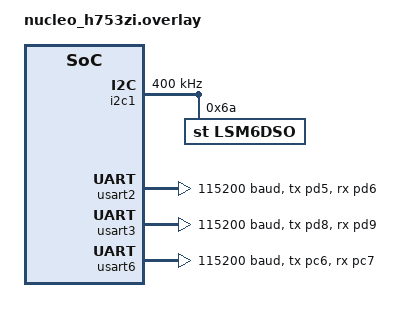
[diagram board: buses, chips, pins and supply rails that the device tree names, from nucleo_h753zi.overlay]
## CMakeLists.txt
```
# SPDX-License-Identifier: Apache-2.0

cmake_minimum_required(VERSION 3.20.0)

# Set the Zephyr base directory
find_package(Zephyr REQUIRED HINTS $ENV{ZEPHYR_BASE})

# Project name
project(segment_controller)

# Add source files
target_sources(app PRIVATE
    src/main.c
    src/network.c
    src/packet.c
    src/imu.c
    src/tmc9660.c
)

# Add include directories
target_include_directories(app PRIVATE
    include
    src
)
```

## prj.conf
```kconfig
# SPDX-License-Identifier: Apache-2.0

# Enable console and UART for debugging
CONFIG_CONSOLE=y
CONFIG_UART_CONSOLE=y
CONFIG_SERIAL=y

# Enable printk for basic logging
CONFIG_PRINTK=y

# Enable GPIO (for LED if needed)
CONFIG_GPIO=y

# Increase main stack size for future expansion
CONFIG_MAIN_STACK_SIZE=2048

# Phase 2: Networking
CONFIG_NETWORKING=y
CONFIG_NET_IPV4=y
CONFIG_NET_TCP=y
CONFIG_NET_UDP=y

# DHCP Client
CONFIG_NET_DHCPV4=y

# Ethernet
CONFIG_NET_L2_ETHERNET=y

# Network buffers
CONFIG_NET_BUF_RX_COUNT=16
CONFIG_NET_BUF_TX_COUNT=16
CONFIG_NET_PKT_RX_COUNT=16
CONFIG_NET_PKT_TX_COUNT=16

# Network shell (for debugging)
CONFIG_NET_SHELL=y
CONFIG_SHELL=y

# Increase network-related stack sizes
CONFIG_NET_TX_STACK_SIZE=2048
CONFIG_NET_RX_STACK_SIZE=2048

# Network logging (can be disabled after testing)
CONFIG_NET_LOG=y
CONFIG_NET_DHCPV4_LOG_LEVEL_DBG=y

# Phase 3: Sockets
CONFIG_NET_SOCKETS=y
CONFIG_POSIX_API=y

# Increase socket buffer sizes for packet handling
CONFIG_NET_TCP_MAX_SEND_WINDOW_SIZE=4096
CONFIG_NET_TCP_MAX_RECV_WINDOW_SIZE=4096

# Phase 4: I2C and IMU
CONFIG_I2C=y
CONFIG_SENSOR=y
CONFIG_LSM6DSO=y

# Enable floating point for sensor fusion
CONFIG_FPU=y
CONFIG_FP_HARDABI=y

# Phase 5: TMC9660 Motor Driver (UART)
# UART already enabled for console, no additional config needed
# Motor driver will use USART2 (configured in device tree)
```

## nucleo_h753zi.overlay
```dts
/*
 * Device Tree Overlay for Nucleo H753ZI
 * - LSM6DSO IMU on I2C1 (Arduino connector pins D14/D15)
 * - TMC9660 motor driver on USART2 (Arduino connector pins D0/D1)
 *
 * SPDX-License-Identifier: Apache-2.0
 */

&i2c1 {
	status = "okay";
	clock-frequency = <I2C_BITRATE_FAST>;  /* 400 kHz */

	lsm6dso: lsm6dso@6a {
		compatible = "st,lsm6dso";
		reg = <0x6a>;  /* I2C address (SDO/SA0 pin low) */
		                /* Use 0x6b if SDO/SA0 pin high */

		/* Accelerometer configuration */
		accel-range = <0>;  /* ±2g (0=2g, 1=16g, 2=4g, 3=8g) */
		accel-odr = <4>;    /* 104 Hz */

		/* Gyroscope configuration */
		gyro-range = <6>;  /* ±2000 dps (0=250dps, 1=125dps, 2=500dps, 4=1000dps, 6=2000dps) */
		gyro-odr = <4>;    /* 104 Hz */
	};
};

/* USART2 for TMC9660 Motor A */
&usart2 {
	status = "okay";
	current-speed = <115200>;  /* 115200 baud (TMC9660 autobaud) */
	pinctrl-0 = <&usart2_tx_pd5 &usart2_rx_pd6>;
	pinctrl-names = "default";
};

/* USART3 for TMC9660 Motor B */
&usart3 {
	status = "okay";
	current-speed = <115200>;
	pinctrl-0 = <&usart3_tx_pd8 &usart3_rx_pd9>;
	pinctrl-names = "default";
};

/* USART6 for TMC9660 Motor C */
&usart6 {
	status = "okay";
	current-speed = <115200>;
	pinctrl-0 = <&usart6_tx_pc6 &usart6_rx_pc7>;
	pinctrl-names = "default";
};

/* Aliases for easy reference in code */
/ {
	aliases {
		tmc9660a = &usart2;  /* Motor A */
		tmc9660b = &usart3;  /* Motor B */
		tmc9660c = &usart6;  /* Motor C */
	};
};
```

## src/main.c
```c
/*
 * Segment Controller Firmware - Phase 5: TMC9660 Motor Driver
 *
 * SPDX-License-Identifier: Apache-2.0
 */

#include <zephyr/kernel.h>
#include <zephyr/sys/printk.h>
#include <zephyr/version.h>
#include "network.h"
#include "packet.h"
#include "imu.h"
#include "tmc9660.h"

/* Segment ID - default 0 (unconfigured) */
#define MY_SEGMENT_ID 0

/* Feedback thread timing */
#define DIAGNOSTICS_INTERVAL_MS 1000  /* 1 Hz */
#define IMU_UPDATE_INTERVAL_MS 100     /* 10 Hz (will be 100 Hz in Phase 7) */

static bool servers_started = false;

int main(void)
{
	int ret;
	char ip_addr[32];
	uint32_t last_diag_time = 0;
	uint32_t last_imu_time = 0;

	printk("\n");
	printk("========================================\n");
	printk("  Segment Controller Firmware\n");
	printk("========================================\n");
	printk("Board: %s\n", CONFIG_BOARD);
	printk("Zephyr Version: %s\n", KERNEL_VERSION_STRING);
	printk("========================================\n\n");

	printk("[Phase 1] Basic Bringup - SUCCESS\n");

	/* Set segment ID */
	packet_set_segment_id(MY_SEGMENT_ID);

	/* Phase 2: Initialize networking */
	ret = network_init();
	if (ret < 0) {
		printk("ERROR: Network initialization failed: %d\n", ret);
		printk("Phase 2 FAILED - stopping here\n");
		return ret;
	}

	printk("[Phase 2] Network initialization started\n");
	printk("Waiting for DHCP to assign IP address...\n\n");

	/* Phase 4: Initialize IMU */
	ret = imu_init();
	if (ret < 0) {
		printk("Warning: IMU initialization failed: %d\n", ret);
		printk("Continuing without IMU (orientation will be zeros)\n\n");
	}

	/* Phase 5: Initialize all TMC9660 motor drivers (A, B, C) */
	ret = tmc9660_init_all();
	if (ret < 0) {
		printk("Warning: Not all TMC9660 motors initialized\n");
		printk("Check which motors are connected and responding\n\n");
	}

	/* Print status for each motor */
	printk("[Phase 5] TMC9660 Motor Drivers:\n");
	for (int i = 0; i < TMC9660_NUM_MOTORS; i++) {
		const char *motor_names[] = {"A", "B", "C"};
		if (tmc9660_is_ready((tmc9660_motor_id_t)i)) {
			tmc9660_state_t tmc_state;
			tmc9660_get_state((tmc9660_motor_id_t)i, &tmc_state);
			printk("  Motor %s: OK (type=0x%08X, v%u, BL=%u.%u)\n",
			       motor_names[i],
			       tmc_state.chip_type,
			       tmc_state.chip_version,
			       (tmc_state.bootloader_version >> 16) & 0xFFFF,
			       tmc_state.bootloader_version & 0xFFFF);
		} else {
			printk("  Motor %s: NOT CONNECTED\n", motor_names[i]);
		}
	}
	printk("\n");

	/* Main loop */
	while (1) {
		k_sleep(K_SECONDS(1));

		if (network_is_ready()) {
			/* Start servers once after DHCP success */
			if (!servers_started) {
				ret = network_start_servers();
				if (ret < 0) {
					printk("ERROR: Failed to start servers: %d\n", ret);
					return ret;
				}
				servers_started = true;

				printk("[Phase 3] Packet Protocol - READY\n");
				printk("Listening for commands on:\n");
				printk("  - TCP port %d (trajectory, config)\n", TCP_LISTEN_PORT);
				printk("  - UDP port %d (emergency stop)\n\n", UDP_LISTEN_PORT);

				if (network_get_ip_address(ip_addr, sizeof(ip_addr)) == 0) {
					printk("Ready to receive packets at: %s\n\n", ip_addr);
				}
			}

			uint32_t now = k_uptime_get_32();

			/* Update IMU periodically (10 Hz for now) */
			if (now - last_imu_time >= IMU_UPDATE_INTERVAL_MS) {
				if (imu_is_valid()) {
					ret = imu_update();
					if (ret < 0) {
						printk("Warning: IMU update failed: %d\n", ret);
					}
				}
				last_imu_time = now;
			}

			/* Send diagnostics packet periodically (1 Hz) */
			if (now - last_diag_time >= DIAGNOSTICS_INTERVAL_MS) {
				diagnostics_packet_t diag_pkt;
				packet_build_diagnostics(&diag_pkt, MY_SEGMENT_ID);

				/* Try to send via TCP (will fail if no client connected) */
				ret = network_send_tcp((uint8_t *)&diag_pkt, sizeof(diag_pkt));
				if (ret > 0) {
					printk("[Feedback] Sent DIAGNOSTICS packet (%d bytes)\n", ret);
				}

				last_diag_time = now;
			}

		} else {
			/* Still waiting for network */
			printk("Heartbeat: Waiting for network...\n");
		}
	}

	return 0;
}
```

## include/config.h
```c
/*
 * Segment Controller Configuration Header
 *
 * SPDX-License-Identifier: Apache-2.0
 */

#ifndef CONFIG_H
#define CONFIG_H

/* Placeholder for future configuration constants */

/* Phase 2: Network Configuration */
// #define DHCP_ENABLED 1
// #define TCP_PORT 5000
// #define UDP_PORT 6000

/* Phase 3: Packet Protocol */
// #define MAX_PACKET_SIZE 512

/* Phase 4: IMU Configuration */
// #define IMU_I2C_ADDRESS 0x6A
// #define IMU_SAMPLE_RATE_HZ 100

/* Phase 5: Motor Driver Configuration */
// #define TMC9660_SPI_FREQUENCY 1000000

/* Phase 6: Trajectory Configuration */
// #define TRAJECTORY_BUFFER_SIZE 10

/* Phase 7: Control Loop */
// #define CONTROL_LOOP_FREQUENCY_HZ 100

#endif /* CONFIG_H */
```

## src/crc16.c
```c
/*
 * CRC16-CCITT Implementation
 *
 * SPDX-License-Identifier: Apache-2.0
 */

#include "crc16.h"
#include <stdbool.h>

/* CRC16-CCITT lookup table for faster computation */
static const uint16_t crc16_table[256] = {
	0x0000, 0x1021, 0x2042, 0x3063, 0x4084, 0x50a5, 0x60c6, 0x70e7,
	0x8108, 0x9129, 0xa14a, 0xb16b, 0xc18c, 0xd1ad, 0xe1ce, 0xf1ef,
	0x1231, 0x0210, 0x3273, 0x2252, 0x52b5, 0x4294, 0x72f7, 0x62d6,
	0x9339, 0x8318, 0xb37b, 0xa35a, 0xd3bd, 0xc39c, 0xf3ff, 0xe3de,
	0x2462, 0x3443, 0x0420, 0x1401, 0x64e6, 0x74c7, 0x44a4, 0x5485,
	0xa56a, 0xb54b, 0x8528, 0x9509, 0xe5ee, 0xf5cf, 0xc5ac, 0xd58d,
	0x3653, 0x2672, 0x1611, 0x0630, 0x76d7, 0x66f6, 0x5695, 0x46b4,
	0xb75b, 0xa77a, 0x9719, 0x8738, 0xf7df, 0xe7fe, 0xd79d, 0xc7bc,
	0x48c4, 0x58e5, 0x6886, 0x78a7, 0x0840, 0x1861, 0x2802, 0x3823,
	0xc9cc, 0xd9ed, 0xe98e, 0xf9af, 0x8948, 0x9969, 0xa90a, 0xb92b,
	0x5af5, 0x4ad4, 0x7ab7, 0x6a96, 0x1a71, 0x0a50, 0x3a33, 0x2a12,
	0xdbfd, 0xcbdc, 0xfbbf, 0xeb9e, 0x9b79, 0x8b58, 0xbb3b, 0xab1a,
	0x6ca6, 0x7c87, 0x4ce4, 0x5cc5, 0x2c22, 0x3c03, 0x0c60, 0x1c41,
	0xedae, 0xfd8f, 0xcdec, 0xddcd, 0xad2a, 0xbd0b, 0x8d68, 0x9d49,
	0x7e97, 0x6eb6, 0x5ed5, 0x4ef4, 0x3e13, 0x2e32, 0x1e51, 0x0e70,
	0xff9f, 0xefbe, 0xdfdd, 0xcffc, 0xbf1b, 0xaf3a, 0x9f59, 0x8f78,
	0x9188, 0x81a9, 0xb1ca, 0xa1eb, 0xd10c, 0xc12d, 0xf14e, 0xe16f,
	0x1080, 0x00a1, 0x30c2, 0x20e3, 0x5004, 0x4025, 0x7046, 0x6067,
	0x83b9, 0x9398, 0xa3fb, 0xb3da, 0xc33d, 0xd31c, 0xe37f, 0xf35e,
	0x02b1, 0x1290, 0x22f3, 0x32d2, 0x4235, 0x5214, 0x6277, 0x7256,
	0xb5ea, 0xa5cb, 0x95a8, 0x8589, 0xf56e, 0xe54f, 0xd52c, 0xc50d,
	0x34e2, 0x24c3, 0x14a0, 0x0481, 0x7466, 0x6447, 0x5424, 0x4405,
	0xa7db, 0xb7fa, 0x8799, 0x97b8, 0xe75f, 0xf77e, 0xc71d, 0xd73c,
	0x26d3, 0x36f2, 0x0691, 0x16b0, 0x6657, 0x7676, 0x4615, 0x5634,
	0xd94c, 0xc96d, 0xf90e, 0xe92f, 0x99c8, 0x89e9, 0xb98a, 0xa9ab,
	0x5844, 0x4865, 0x7806, 0x6827, 0x18c0, 0x08e1, 0x3882, 0x28a3,
	0xcb7d, 0xdb5c, 0xeb3f, 0xfb1e, 0x8bf9, 0x9bd8, 0xabbb, 0xbb9a,
	0x4a75, 0x5a54, 0x6a37, 0x7a16, 0x0af1, 0x1ad0, 0x2ab3, 0x3a92,
	0xfd2e, 0xed0f, 0xdd6c, 0xcd4d, 0xbdaa, 0xad8b, 0x9de8, 0x8dc9,
	0x7c26, 0x6c07, 0x5c64, 0x4c45, 0x3ca2, 0x2c83, 0x1ce0, 0x0cc1,
	0xef1f, 0xff3e, 0xcf5d, 0xdf7c, 0xaf9b, 0xbfba, 0x8fd9, 0x9ff8,
	0x6e17, 0x7e36, 0x4e55, 0x5e74, 0x2e93, 0x3eb2, 0x0ed1, 0x1ef0
};

uint16_t crc16_ccitt(const uint8_t *data, size_t length)
{
	uint16_t crc = 0xFFFF;  /* Initial value */

	for (size_t i = 0; i < length; i++) {
		uint8_t index = (crc >> 8) ^ data[i];
		crc = (crc << 8) ^ crc16_table[index];
	}

	return crc;
}

bool crc16_verify(const uint8_t *data, size_t length)
{
	if (length < 2) {
		return false;
	}

	/* Calculate CRC of data (excluding last 2 bytes which are the CRC) */
	uint16_t calculated_crc = crc16_ccitt(data, length - 2);

	/* Extract CRC from packet (little-endian) */
	uint16_t packet_crc = data[length - 2] | (data[length - 1] << 8);

	return calculated_crc == packet_crc;
}
```

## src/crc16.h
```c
/*
 * CRC16-CCITT Header - Wrapper for Zephyr's Built-in CRC16
 *
 * SPDX-License-Identifier: Apache-2.0
 */

#ifndef CRC16_H
#define CRC16_H

#include <stdint.h>
#include <stdbool.h>
#include <stddef.h>
#include <zephyr/sys/crc.h>  /* Zephyr's built-in CRC functions */

/**
 * Calculate CRC16-CCITT checksum
 * Wrapper for Zephyr's crc16_ccitt with standard initial value
 *
 * @param data Pointer to data buffer
 * @param length Length of data in bytes
 * @return CRC16-CCITT value
 */
static inline uint16_t crc16_ccitt_calc(const uint8_t *data, size_t length)
{
	return crc16_ccitt(0xFFFF, data, length);
}

/**
 * Verify CRC16 checksum
 *
 * @param data Pointer to data buffer (including 2-byte CRC at end)
 * @param length Total length including CRC
 * @return true if CRC is valid, false otherwise
 */
static inline bool crc16_verify(const uint8_t *data, size_t length)
{
	if (length < 2) {
		return false;
	}

	/* Calculate CRC of data (excluding last 2 bytes which are the CRC) */
	uint16_t calculated_crc = crc16_ccitt(0xFFFF, data, length - 2);

	/* Extract CRC from packet (little-endian) */
	uint16_t packet_crc = data[length - 2] | (data[length - 1] << 8);

	return calculated_crc == packet_crc;
}

#endif /* CRC16_H */
```

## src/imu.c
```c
/*
 * IMU (LSM6DSO) Driver and Sensor Fusion
 * Phase 4: IMU Integration
 *
 * SPDX-License-Identifier: Apache-2.0
 */

#include "imu.h"
#include "madgwick.h"
#include <zephyr/kernel.h>
#include <zephyr/device.h>
#include <zephyr/drivers/sensor.h>
#include <zephyr/sys/printk.h>
#include <math.h>

/* LSM6DSO device */
static const struct device *lsm6dso_dev = NULL;

/* Current IMU data */
static imu_data_t current_data = {0};

/* Madgwick filter instance */
static madgwick_t madgwick;

/* IMU configuration */
#define IMU_SAMPLE_FREQ 100.0f   /* 100 Hz update rate */
#define MADGWICK_BETA   0.1f     /* Filter gain */

/* Conversion factors */
#define ACCEL_SENSITIVITY_2G  0.000061f  /* LSM6DSO: 0.061 mg/LSB for ±2g */
#define GYRO_SENSITIVITY_2000DPS  0.070f  /* LSM6DSO: 70 mdps/LSB for ±2000dps */
#define DEG_TO_RAD  (M_PI / 180.0f)

int imu_init(void)
{
	printk("\n[Phase 4] Initializing IMU (LSM6DSO)...\n");

	/* Get LSM6DSO device from device tree */
	lsm6dso_dev = DEVICE_DT_GET_ONE(st_lsm6dso);

	if (!lsm6dso_dev) {
		printk("ERROR: LSM6DSO device not found in device tree\n");
		return -ENODEV;
	}

	if (!device_is_ready(lsm6dso_dev)) {
		printk("ERROR: LSM6DSO device is not ready\n");
		return -ENODEV;
	}

	printk("LSM6DSO device found: %s\n", lsm6dso_dev->name);

	/* Initialize Madgwick filter */
	madgwick_init(&madgwick, IMU_SAMPLE_FREQ, MADGWICK_BETA);
	printk("Madgwick filter initialized (beta=%.2f, freq=%.0f Hz)\n",
	       MADGWICK_BETA, IMU_SAMPLE_FREQ);

	/* Set up sensor attributes if needed */
	struct sensor_value odr;
	odr.val1 = 104;  /* 104 Hz ODR */
	odr.val2 = 0;

	int ret = sensor_attr_set(lsm6dso_dev, SENSOR_CHAN_ACCEL_XYZ,
	                          SENSOR_ATTR_SAMPLING_FREQUENCY, &odr);
	if (ret < 0) {
		printk("Warning: Could not set accelerometer ODR: %d\n", ret);
	}

	ret = sensor_attr_set(lsm6dso_dev, SENSOR_CHAN_GYRO_XYZ,
	                      SENSOR_ATTR_SAMPLING_FREQUENCY, &odr);
	if (ret < 0) {
		printk("Warning: Could not set gyroscope ODR: %d\n", ret);
	}

	/* Test reading to verify communication */
	ret = sensor_sample_fetch(lsm6dso_dev);
	if (ret < 0) {
		printk("ERROR: Failed to fetch initial sample: %d\n", ret);
		current_data.valid = false;
		return ret;
	}

	printk("[Phase 4] IMU initialized successfully\n");
	current_data.valid = true;
	current_data.last_update_ms = k_uptime_get_32();

	return 0;
}

int imu_update(void)
{
	if (!lsm6dso_dev || !current_data.valid) {
		return -ENODEV;
	}

	/* Fetch new sensor data */
	int ret = sensor_sample_fetch(lsm6dso_dev);
	if (ret < 0) {
		printk("IMU: Sample fetch failed: %d\n", ret);
		current_data.valid = false;
		return ret;
	}

	/* Read accelerometer */
	struct sensor_value accel[3];
	ret = sensor_channel_get(lsm6dso_dev, SENSOR_CHAN_ACCEL_XYZ, accel);
	if (ret < 0) {
		printk("IMU: Accel read failed: %d\n", ret);
		return ret;
	}

	/* Read gyroscope */
	struct sensor_value gyro[3];
	ret = sensor_channel_get(lsm6dso_dev, SENSOR_CHAN_GYRO_XYZ, gyro);
	if (ret < 0) {
		printk("IMU: Gyro read failed: %d\n", ret);
		return ret;
	}

	/* Convert to SI units */
	/* Accelerometer: sensor_value is in m/s² */
	current_data.accel_x = sensor_value_to_float(&accel[0]);
	current_data.accel_y = sensor_value_to_float(&accel[1]);
	current_data.accel_z = sensor_value_to_float(&accel[2]);

	/* Gyroscope: sensor_value is in rad/s */
	current_data.gyro_x = sensor_value_to_float(&gyro[0]);
	current_data.gyro_y = sensor_value_to_float(&gyro[1]);
	current_data.gyro_z = sensor_value_to_float(&gyro[2]);

	/* Update Madgwick filter */
	madgwick_update(&madgwick,
	                current_data.gyro_x, current_data.gyro_y, current_data.gyro_z,
	                current_data.accel_x, current_data.accel_y, current_data.accel_z);

	/* Get orientation from quaternion */
	madgwick_get_euler(&madgwick,
	                   &current_data.roll,
	                   &current_data.pitch,
	                   &current_data.yaw);

	current_data.last_update_ms = k_uptime_get_32();

	return 0;
}

void imu_get_data(imu_data_t *data)
{
	if (data) {
		memcpy(data, &current_data, sizeof(imu_data_t));
	}
}

void imu_get_orientation(float *roll, float *pitch, float *yaw)
{
	if (roll) {
		*roll = current_data.roll;
	}
	if (pitch) {
		*pitch = current_data.pitch;
	}
	if (yaw) {
		*yaw = current_data.yaw;
	}
}

bool imu_is_valid(void)
{
	return current_data.valid;
}
```

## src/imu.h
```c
/*
 * IMU (LSM6DSO) Driver and Sensor Fusion
 * Phase 4: IMU Integration
 *
 * SPDX-License-Identifier: Apache-2.0
 */

#ifndef IMU_H
#define IMU_H

#include <stdint.h>
#include <stdbool.h>

/* IMU data structure */
typedef struct {
	/* Raw sensor data */
	float accel_x;  /* m/s² */
	float accel_y;
	float accel_z;

	float gyro_x;   /* rad/s */
	float gyro_y;
	float gyro_z;

	/* Fused orientation (Madgwick filter output) */
	float roll;     /* radians */
	float pitch;    /* radians */
	float yaw;      /* radians */

	/* Status */
	bool valid;     /* True if IMU is working */
	uint32_t last_update_ms;  /* Timestamp of last update */
} imu_data_t;

/**
 * Initialize IMU subsystem
 *
 * @return 0 on success, negative on error
 */
int imu_init(void);

/**
 * Update IMU readings (call at 100 Hz from control loop)
 * Reads accelerometer and gyroscope, runs Madgwick filter
 *
 * @return 0 on success, negative on error
 */
int imu_update(void);

/**
 * Get current IMU data
 *
 * @param data Pointer to structure to fill with current data
 */
void imu_get_data(imu_data_t *data);

/**
 * Get orientation in radians
 *
 * @param roll Output roll angle
 * @param pitch Output pitch angle
 * @param yaw Output yaw angle
 */
void imu_get_orientation(float *roll, float *pitch, float *yaw);

/**
 * Check if IMU is working
 *
 * @return true if IMU initialized and responding
 */
bool imu_is_valid(void);

#endif /* IMU_H */
```

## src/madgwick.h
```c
/*
 * Madgwick AHRS Algorithm
 * Based on: https://x-io.co.uk/open-source-imu-and-ahrs-algorithms/
 *
 * Simplified single-file implementation for embedded systems
 */

#ifndef MADGWICK_H
#define MADGWICK_H

#include <math.h>

#ifndef M_PI
#define M_PI 3.14159265358979323846
#endif

typedef struct {
	float q0, q1, q2, q3;  /* Quaternion elements */
	float beta;             /* Filter gain */
	float sample_freq;      /* Sample frequency in Hz */
} madgwick_t;

/**
 * Initialize Madgwick filter
 *
 * @param m Pointer to Madgwick structure
 * @param sample_freq Sampling frequency in Hz
 * @param beta Filter gain (typically 0.1 to 0.5, higher = faster convergence but more noise)
 */
static inline void madgwick_init(madgwick_t *m, float sample_freq, float beta)
{
	m->q0 = 1.0f;
	m->q1 = 0.0f;
	m->q2 = 0.0f;
	m->q3 = 0.0f;
	m->beta = beta;
	m->sample_freq = sample_freq;
}

/**
 * Update filter with gyroscope and accelerometer data
 *
 * @param m Pointer to Madgwick structure
 * @param gx Gyroscope x-axis (rad/s)
 * @param gy Gyroscope y-axis (rad/s)
 * @param gz Gyroscope z-axis (rad/s)
 * @param ax Accelerometer x-axis (any units, will be normalized)
 * @param ay Accelerometer y-axis
 * @param az Accelerometer z-axis
 */
static inline void madgwick_update(madgwick_t *m, float gx, float gy, float gz,
                                    float ax, float ay, float az)
{
	float recip_norm;
	float s0, s1, s2, s3;
	float q_dot1, q_dot2, q_dot3, q_dot4;
	float _2q0, _2q1, _2q2, _2q3, _4q0, _4q1, _4q2, _8q1, _8q2, q0q0, q1q1, q2q2, q3q3;

	/* Rate of change of quaternion from gyroscope */
	q_dot1 = 0.5f * (-m->q1 * gx - m->q2 * gy - m->q3 * gz);
	q_dot2 = 0.5f * (m->q0 * gx + m->q2 * gz - m->q3 * gy);
	q_dot3 = 0.5f * (m->q0 * gy - m->q1 * gz + m->q3 * gx);
	q_dot4 = 0.5f * (m->q0 * gz + m->q1 * gy - m->q2 * gx);

	/* Compute feedback only if accelerometer measurement valid */
	if (!((ax == 0.0f) && (ay == 0.0f) && (az == 0.0f))) {
		/* Normalize accelerometer measurement */
		recip_norm = 1.0f / sqrtf(ax * ax + ay * ay + az * az);
		ax *= recip_norm;
		ay *= recip_norm;
		az *= recip_norm;

		/* Auxiliary variables to avoid repeated arithmetic */
		_2q0 = 2.0f * m->q0;
		_2q1 = 2.0f * m->q1;
		_2q2 = 2.0f * m->q2;
		_2q3 = 2.0f * m->q3;
		_4q0 = 4.0f * m->q0;
		_4q1 = 4.0f * m->q1;
		_4q2 = 4.0f * m->q2;
		_8q1 = 8.0f * m->q1;
		_8q2 = 8.0f * m->q2;
		q0q0 = m->q0 * m->q0;
		q1q1 = m->q1 * m->q1;
		q2q2 = m->q2 * m->q2;
		q3q3 = m->q3 * m->q3;

		/* Gradient descent algorithm corrective step */
		s0 = _4q0 * q2q2 + _2q2 * ax + _4q0 * q1q1 - _2q1 * ay;
		s1 = _4q1 * q3q3 - _2q3 * ax + 4.0f * q0q0 * m->q1 - _2q0 * ay - _4q1 + _8q1 * q1q1 +
		     _8q1 * q2q2 + _4q1 * az;
		s2 = 4.0f * q0q0 * m->q2 + _2q0 * ax + _4q2 * q3q3 - _2q3 * ay - _4q2 + _8q2 * q1q1 +
		     _8q2 * q2q2 + _4q2 * az;
		s3 = 4.0f * q1q1 * m->q3 - _2q1 * ax + 4.0f * q2q2 * m->q3 - _2q2 * ay;

		/* Normalize step magnitude */
		recip_norm = 1.0f / sqrtf(s0 * s0 + s1 * s1 + s2 * s2 + s3 * s3);
		s0 *= recip_norm;
		s1 *= recip_norm;
		s2 *= recip_norm;
		s3 *= recip_norm;

		/* Apply feedback step */
		q_dot1 -= m->beta * s0;
		q_dot2 -= m->beta * s1;
		q_dot3 -= m->beta * s2;
		q_dot4 -= m->beta * s3;
	}

	/* Integrate rate of change of quaternion to yield quaternion */
	m->q0 += q_dot1 * (1.0f / m->sample_freq);
	m->q1 += q_dot2 * (1.0f / m->sample_freq);
	m->q2 += q_dot3 * (1.0f / m->sample_freq);
	m->q3 += q_dot4 * (1.0f / m->sample_freq);

	/* Normalize quaternion */
	recip_norm = 1.0f / sqrtf(m->q0 * m->q0 + m->q1 * m->q1 + m->q2 * m->q2 + m->q3 * m->q3);
	m->q0 *= recip_norm;
	m->q1 *= recip_norm;
	m->q2 *= recip_norm;
	m->q3 *= recip_norm;
}

/**
 * Get Euler angles from quaternion
 *
 * @param m Pointer to Madgwick structure
 * @param roll Output roll angle (radians)
 * @param pitch Output pitch angle (radians)
 * @param yaw Output yaw angle (radians)
 */
static inline void madgwick_get_euler(madgwick_t *m, float *roll, float *pitch, float *yaw)
{
	/* Roll (x-axis rotation) */
	float sinr_cosp = 2.0f * (m->q0 * m->q1 + m->q2 * m->q3);
	float cosr_cosp = 1.0f - 2.0f * (m->q1 * m->q1 + m->q2 * m->q2);
	*roll = atan2f(sinr_cosp, cosr_cosp);

	/* Pitch (y-axis rotation) */
	float sinp = 2.0f * (m->q0 * m->q2 - m->q3 * m->q1);
	if (fabsf(sinp) >= 1.0f) {
		*pitch = copysignf(M_PI / 2.0f, sinp);  /* Use 90 degrees if out of range */
	} else {
		*pitch = asinf(sinp);
	}

	/* Yaw (z-axis rotation) */
	float siny_cosp = 2.0f * (m->q0 * m->q3 + m->q1 * m->q2);
	float cosy_cosp = 1.0f - 2.0f * (m->q2 * m->q2 + m->q3 * m->q3);
	*yaw = atan2f(siny_cosp, cosy_cosp);
}

#endif /* MADGWICK_H */
```

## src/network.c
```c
/*
 * Network Layer - Phase 3: TCP/UDP Sockets
 *
 * SPDX-License-Identifier: Apache-2.0
 */

#include "network.h"
#include "packet.h"
#include <zephyr/kernel.h>
#include <zephyr/net/net_if.h>
#include <zephyr/net/net_core.h>
#include <zephyr/net/net_context.h>
#include <zephyr/net/net_mgmt.h>
#include <zephyr/net/dhcpv4.h>
#include <zephyr/net/net_ip.h>
#include <zephyr/net/socket.h>
#include <zephyr/sys/printk.h>
#include <zephyr/posix/arpa/inet.h>
#include <string.h>
#include <errno.h>

/* Network interface */
static struct net_if *iface = NULL;

/* Network management event handler */
static struct net_mgmt_event_callback mgmt_cb;

/* Network ready flag */
static bool net_ready = false;

/* Sockets */
static int tcp_sock = -1;
static int udp_sock = -1;
static int tcp_client_sock = -1;

/* Master address (for sending feedback) */
static struct sockaddr_in master_addr;
static bool master_connected = false;

/* Thread stacks */
#define TCP_THREAD_STACK_SIZE 2048
#define UDP_THREAD_STACK_SIZE 2048

K_THREAD_STACK_DEFINE(tcp_thread_stack, TCP_THREAD_STACK_SIZE);
K_THREAD_STACK_DEFINE(udp_thread_stack, UDP_THREAD_STACK_SIZE);

static struct k_thread tcp_thread_data;
static struct k_thread udp_thread_data;

/* DHCP event handler */
static void dhcp_event_handler(struct net_mgmt_event_callback *cb,
			       uint64_t mgmt_event, struct net_if *iface_cb)
{
	if (mgmt_event == NET_EVENT_IPV4_DHCP_BOUND) {
		char addr_str[INET_ADDRSTRLEN];

		/* Get the assigned IP address */
		struct in_addr *addr = &iface_cb->config.dhcpv4.requested_ip;

		net_addr_ntop(AF_INET, addr, addr_str, sizeof(addr_str));

		printk("\n=== DHCP Success ===\n");
		printk("IP Address assigned: %s\n", addr_str);
		printk("Network is ready!\n");
		printk("====================\n\n");

		net_ready = true;
	} else if (mgmt_event == NET_EVENT_IPV4_ADDR_ADD) {
		printk("IPv4 address added to interface\n");
	}
}

int network_init(void)
{
	printk("\n[Phase 2] Initializing Network...\n");

	/* Get the default network interface */
	iface = net_if_get_default();
	if (!iface) {
		printk("ERROR: No network interface found\n");
		return -ENODEV;
	}

	printk("Network interface found: %s\n", net_if_get_device(iface)->name);

	/* Register DHCP event handler */
	net_mgmt_init_event_callback(&mgmt_cb, dhcp_event_handler,
				     NET_EVENT_IPV4_DHCP_BOUND |
				     NET_EVENT_IPV4_ADDR_ADD);
	net_mgmt_add_event_callback(&mgmt_cb);

	printk("DHCP event handler registered\n");

	/* Start DHCP */
	printk("Starting DHCP client...\n");
	printk("Waiting for IP address (this may take 10-30 seconds)...\n");

	net_dhcpv4_start(iface);

	return 0;
}

int network_get_ip_address(char *buf, size_t buflen)
{
	if (!iface || !net_ready) {
		return -EAGAIN;
	}

	struct in_addr *addr = &iface->config.dhcpv4.requested_ip;

	if (net_addr_ntop(AF_INET, addr, buf, buflen) == NULL) {
		return -EINVAL;
	}

	return 0;
}

bool network_is_ready(void)
{
	return net_ready;
}

/* TCP server thread */
static void tcp_server_thread(void *p1, void *p2, void *p3)
{
	ARG_UNUSED(p1);
	ARG_UNUSED(p2);
	ARG_UNUSED(p3);

	uint8_t rx_buffer[NETWORK_RX_BUFFER_SIZE];
	int ret;

	printk("[TCP] Server thread started\n");

	while (1) {
		/* Wait for client connection */
		struct sockaddr_in client_addr;
		socklen_t client_addr_len = sizeof(client_addr);

		printk("[TCP] Waiting for client connection on port %d...\n", TCP_LISTEN_PORT);

		tcp_client_sock = accept(tcp_sock, (struct sockaddr *)&client_addr,
					 &client_addr_len);

		if (tcp_client_sock < 0) {
			printk("[TCP] Accept failed: %d\n", errno);
			k_sleep(K_SECONDS(1));
			continue;
		}

		/* Save master address for sending feedback */
		memcpy(&master_addr, &client_addr, sizeof(master_addr));
		master_connected = true;

		char addr_str[INET_ADDRSTRLEN];
		inet_ntop(AF_INET, &client_addr.sin_addr, addr_str, sizeof(addr_str));
		printk("[TCP] Client connected from %s:%d\n", addr_str,
		       ntohs(client_addr.sin_port));

		/* Handle client connection */
		while (1) {
			ret = recv(tcp_client_sock, rx_buffer, sizeof(rx_buffer), 0);

			if (ret <= 0) {
				if (ret < 0) {
					printk("[TCP] Receive error: %d\n", errno);
				} else {
					printk("[TCP] Client disconnected\n");
				}
				break;
			}

			printk("[TCP] Received %d bytes\n", ret);

			/* Parse and handle packet */
			packet_parse_command(rx_buffer, ret);
		}

		/* Close client socket */
		close(tcp_client_sock);
		tcp_client_sock = -1;
		master_connected = false;
	}
}

/* UDP server thread */
static void udp_server_thread(void *p1, void *p2, void *p3)
{
	ARG_UNUSED(p1);
	ARG_UNUSED(p2);
	ARG_UNUSED(p3);

	uint8_t rx_buffer[NETWORK_RX_BUFFER_SIZE];
	struct sockaddr_in src_addr;
	socklen_t src_addr_len;
	int ret;

	printk("[UDP] Server thread started on port %d\n", UDP_LISTEN_PORT);

	while (1) {
		src_addr_len = sizeof(src_addr);
		ret = recvfrom(udp_sock, rx_buffer, sizeof(rx_buffer), 0,
			       (struct sockaddr *)&src_addr, &src_addr_len);

		if (ret <= 0) {
			if (ret < 0) {
				printk("[UDP] Receive error: %d\n", errno);
			}
			k_sleep(K_MSEC(10));
			continue;
		}

		printk("[UDP] Received %d bytes\n", ret);

		/* Save master address for sending feedback */
		if (!master_connected) {
			memcpy(&master_addr, &src_addr, sizeof(master_addr));
		}

		/* Parse and handle packet */
		packet_parse_command(rx_buffer, ret);
	}
}

int network_start_servers(void)
{
	int ret;
	struct sockaddr_in bind_addr;

	printk("\n[Phase 3] Starting TCP/UDP servers...\n");

	/* Create TCP socket */
	tcp_sock = socket(AF_INET, SOCK_STREAM, IPPROTO_TCP);
	if (tcp_sock < 0) {
		printk("[TCP] Socket creation failed: %d\n", errno);
		return -errno;
	}

	/* Bind TCP socket */
	memset(&bind_addr, 0, sizeof(bind_addr));
	bind_addr.sin_family = AF_INET;
	bind_addr.sin_addr.s_addr = htonl(INADDR_ANY);
	bind_addr.sin_port = htons(TCP_LISTEN_PORT);

	ret = bind(tcp_sock, (struct sockaddr *)&bind_addr, sizeof(bind_addr));
	if (ret < 0) {
		printk("[TCP] Bind failed: %d\n", errno);
		close(tcp_sock);
		return -errno;
	}

	/* Listen on TCP socket */
	ret = listen(tcp_sock, 1);
	if (ret < 0) {
		printk("[TCP] Listen failed: %d\n", errno);
		close(tcp_sock);
		return -errno;
	}

	printk("[TCP] Listening on port %d\n", TCP_LISTEN_PORT);

	/* Create UDP socket */
	udp_sock = socket(AF_INET, SOCK_DGRAM, IPPROTO_UDP);
	if (udp_sock < 0) {
		printk("[UDP] Socket creation failed: %d\n", errno);
		close(tcp_sock);
		return -errno;
	}

	/* Bind UDP socket */
	bind_addr.sin_port = htons(UDP_LISTEN_PORT);
	ret = bind(udp_sock, (struct sockaddr *)&bind_addr, sizeof(bind_addr));
	if (ret < 0) {
		printk("[UDP] Bind failed: %d\n", errno);
		close(tcp_sock);
		close(udp_sock);
		return -errno;
	}

	printk("[UDP] Listening on port %d\n", UDP_LISTEN_PORT);

	/* Start TCP server thread */
	k_thread_create(&tcp_thread_data, tcp_thread_stack,
			K_THREAD_STACK_SIZEOF(tcp_thread_stack),
			tcp_server_thread, NULL, NULL, NULL,
			K_PRIO_COOP(7), 0, K_NO_WAIT);
	k_thread_name_set(&tcp_thread_data, "tcp_server");

	/* Start UDP server thread */
	k_thread_create(&udp_thread_data, udp_thread_stack,
			K_THREAD_STACK_SIZEOF(udp_thread_stack),
			udp_server_thread, NULL, NULL, NULL,
			K_PRIO_COOP(7), 0, K_NO_WAIT);
	k_thread_name_set(&udp_thread_data, "udp_server");

	printk("[Phase 3] TCP/UDP servers started successfully\n\n");

	return 0;
}

int network_send_udp(const uint8_t *data, size_t length)
{
	if (udp_sock < 0) {
		return -ENOTCONN;
	}

	/* Use master address if we know it */
	if (master_connected || master_addr.sin_addr.s_addr != 0) {
		return sendto(udp_sock, data, length, 0,
			      (struct sockaddr *)&master_addr,
			      sizeof(master_addr));
	}

	return -ENOTCONN;
}

int network_send_tcp(const uint8_t *data, size_t length)
{
	if (tcp_client_sock < 0 || !master_connected) {
		return -ENOTCONN;
	}

	return send(tcp_client_sock, data, length, 0);
}
```

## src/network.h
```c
/*
 * Network Layer - Phase 3: TCP/UDP Sockets
 *
 * SPDX-License-Identifier: Apache-2.0
 */

#ifndef NETWORK_H
#define NETWORK_H

#include <zephyr/kernel.h>
#include <zephyr/net/net_if.h>
#include <stdint.h>
#include <stddef.h>

/* Network configuration from packet-protocol-specification.yaml */
#define TCP_LISTEN_PORT 5000
#define UDP_LISTEN_PORT 6000
#define MASTER_TCP_PORT 5000

/* DHCP configuration */
#define EXPECTED_IP_RANGE_START "192.168.1.100"
#define EXPECTED_IP_RANGE_END   "192.168.1.107"

/* Receive buffer size */
#define NETWORK_RX_BUFFER_SIZE 512

/**
 * Initialize network subsystem
 * - Brings up Ethernet interface
 * - Starts DHCP client
 * - Creates UDP and TCP sockets
 *
 * @return 0 on success, negative errno on failure
 */
int network_init(void);

/**
 * Start TCP/UDP servers (call after DHCP succeeds)
 *
 * @return 0 on success, negative errno on failure
 */
int network_start_servers(void);

/**
 * Get current IP address as string
 *
 * @param buf Buffer to store IP address string
 * @param buflen Length of buffer
 * @return 0 on success, negative errno on failure
 */
int network_get_ip_address(char *buf, size_t buflen);

/**
 * Check if network is ready (IP address assigned)
 *
 * @return true if network is ready, false otherwise
 */
bool network_is_ready(void);

/**
 * Send UDP packet to master
 *
 * @param data Pointer to packet data
 * @param length Length of data in bytes
 * @return Number of bytes sent, or negative errno on failure
 */
int network_send_udp(const uint8_t *data, size_t length);

/**
 * Send TCP packet to master
 *
 * @param data Pointer to packet data
 * @param length Length of data in bytes
 * @return Number of bytes sent, or negative errno on failure
 */
int network_send_tcp(const uint8_t *data, size_t length);

#endif /* NETWORK_H */
```

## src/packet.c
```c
/*
 * Packet Protocol Implementation - Phase 3
 *
 * SPDX-License-Identifier: Apache-2.0
 */

#include "packet.h"
#include "crc16.h"
#include "imu.h"
#include <zephyr/kernel.h>
#include <zephyr/sys/printk.h>
#include <string.h>

/* Current system state */
static uint8_t current_mode = MODE_IDLE;
static bool emergency_stop_active = false;
static uint16_t error_count = 0;
static uint8_t last_error = ERROR_NO_ERROR;

/* Segment ID (configured at runtime, default 0) */
static uint8_t my_segment_id = 0;

void packet_set_segment_id(uint8_t id)
{
	my_segment_id = id;
}

int packet_parse_command(const uint8_t *data, size_t length)
{
	if (length < 6) {
		printk("[Packet] Error: Packet too short (%zu bytes)\n", length);
		error_count++;
		last_error = ERROR_CRC_ERROR;
		return -1;
	}

	/* Check magic header */
	uint16_t magic = data[0] | (data[1] << 8);
	if (magic != PACKET_MAGIC_MASTER_TO_STM32) {
		printk("[Packet] Error: Invalid magic header 0x%04X\n", magic);
		error_count++;
		last_error = ERROR_CRC_ERROR;
		return -1;
	}

	/* Verify CRC */
	if (!crc16_verify(data, length)) {
		printk("[Packet] Error: CRC check failed\n");
		error_count++;
		last_error = ERROR_CRC_ERROR;
		return -1;
	}

	/* Get packet type */
	uint8_t packet_type = data[2];

	printk("[Packet] Received valid packet: type=0x%02X, length=%zu\n",
	       packet_type, length);

	/* Handle based on packet type */
	switch (packet_type) {
	case CMD_TRAJECTORY:
		if (length == sizeof(trajectory_packet_t)) {
			packet_handle_trajectory((const trajectory_packet_t *)data);
		} else {
			printk("[Packet] Error: TRAJECTORY size mismatch\n");
			return -1;
		}
		break;

	case CMD_EMERGENCY_STOP:
		if (length == sizeof(emergency_stop_packet_t)) {
			packet_handle_emergency_stop((const emergency_stop_packet_t *)data);
		} else {
			printk("[Packet] Error: EMERGENCY_STOP size mismatch\n");
			return -1;
		}
		break;

	case CMD_START_HOMING:
		if (length == sizeof(start_homing_packet_t)) {
			const start_homing_packet_t *pkt = (const start_homing_packet_t *)data;
			printk("[Packet] START_HOMING: mode=%d\n", pkt->homing_mode);
			current_mode = MODE_HOMING;
		}
		break;

	case CMD_JOG_MOTOR:
		if (length == sizeof(jog_motor_packet_t)) {
			const jog_motor_packet_t *pkt = (const jog_motor_packet_t *)data;
			printk("[Packet] JOG_MOTOR: motor=%d, value=%.2f, speed=%d%%\n",
			       pkt->motor_id, pkt->value, pkt->speed_percent);
		}
		break;

	case CMD_SET_MODE:
		if (length == sizeof(set_mode_packet_t)) {
			packet_handle_set_mode((const set_mode_packet_t *)data);
		}
		break;

	case CMD_SET_ZERO_OFFSET:
		if (length == sizeof(set_zero_offset_packet_t)) {
			printk("[Packet] SET_ZERO_OFFSET command received\n");
			/* Phase 9: Save zero offsets to flash */
		}
		break;

	default:
		printk("[Packet] Warning: Unknown packet type 0x%02X\n", packet_type);
		return -1;
	}

	return packet_type;
}

void packet_handle_emergency_stop(const emergency_stop_packet_t *pkt)
{
	printk("\n");
	printk("╔═══════════════════════════════╗\n");
	printk("║   EMERGENCY STOP ACTIVATED    ║\n");
	printk("╚═══════════════════════════════╝\n");
	printk("Reason: 0x%02X\n", pkt->stop_reason);
	printk("Target: segment %d\n", pkt->segment_id);

	/* Check if broadcast or targeted to us */
	if (pkt->segment_id == 0xFF || pkt->segment_id == my_segment_id) {
		emergency_stop_active = true;
		current_mode = MODE_IDLE;

		printk(">>> Motors DISABLED <<<\n");
		printk("\n");

		/* Phase 7: Actually stop motors here */
	}
}

void packet_handle_set_mode(const set_mode_packet_t *pkt)
{
	const char *mode_name;

	switch (pkt->mode) {
	case MODE_IDLE:
		mode_name = "IDLE";
		break;
	case MODE_HOMING:
		mode_name = "HOMING";
		break;
	case MODE_OPERATION:
		mode_name = "OPERATION";
		break;
	default:
		mode_name = "UNKNOWN";
		break;
	}

	printk("[Packet] SET_MODE: %s (0x%02X)\n", mode_name, pkt->mode);

	current_mode = pkt->mode;

	if (pkt->mode == MODE_OPERATION) {
		emergency_stop_active = false;
	}
}

void packet_handle_trajectory(const trajectory_packet_t *pkt)
{
	printk("[Packet] TRAJECTORY: id=%u, start=%u, duration=%u ms\n",
	       pkt->trajectory_id, pkt->start_timestamp, pkt->duration_ms);

	/* Phase 6: Add to trajectory buffer */
	/* For now, just print first coefficient of each motor */
	printk("  Motor 1 a0=%.3f, Motor 2 a0=%.3f, Motor 3 a0=%.3f\n",
	       pkt->motor_1_coeffs[0],
	       pkt->motor_2_coeffs[0],
	       pkt->motor_3_coeffs[0]);
}

void packet_build_motor_state(motor_state_packet_t *pkt, uint8_t segment_id)
{
	memset(pkt, 0, sizeof(*pkt));

	pkt->magic_header = PACKET_MAGIC_STM32_TO_MASTER;
	pkt->packet_type = FEEDBACK_MOTOR_STATE;
	pkt->segment_id = segment_id;
	pkt->timestamp = k_uptime_get_32();

	/* Phase 4: Get real IMU data */
	/* Phase 5: Get real motor positions/velocities */
	/* Phase 7: Get real currents and calculated values */

	/* For now, fill with zeros (placeholders) */
	pkt->motor_1_position = 0.0f;
	pkt->motor_1_velocity = 0.0f;
	pkt->motor_1_acceleration = 0.0f;
	pkt->motor_1_jerk = 0.0f;
	pkt->motor_1_current = 0.0f;

	pkt->motor_2_position = 0.0f;
	pkt->motor_2_velocity = 0.0f;
	pkt->motor_2_acceleration = 0.0f;
	pkt->motor_2_jerk = 0.0f;
	pkt->motor_2_current = 0.0f;

	pkt->motor_3_position = 0.0f;
	pkt->motor_3_velocity = 0.0f;
	pkt->motor_3_acceleration = 0.0f;
	pkt->motor_3_jerk = 0.0f;
	pkt->motor_3_current = 0.0f;

	/* Phase 4: Get real IMU orientation */
	if (imu_is_valid()) {
		imu_get_orientation(&pkt->imu_roll, &pkt->imu_pitch, &pkt->imu_yaw);
	} else {
		pkt->imu_roll = 0.0f;
		pkt->imu_pitch = 0.0f;
		pkt->imu_yaw = 0.0f;
	}

	pkt->status_flags = packet_get_status_flags();

	/* Calculate CRC */
	pkt->crc16 = crc16_ccitt(0xFFFF, (uint8_t *)pkt, sizeof(*pkt) - 2);
}

void packet_build_diagnostics(diagnostics_packet_t *pkt, uint8_t segment_id)
{
	memset(pkt, 0, sizeof(*pkt));

	pkt->magic_header = PACKET_MAGIC_STM32_TO_MASTER;
	pkt->packet_type = FEEDBACK_DIAGNOSTICS;
	pkt->segment_id = segment_id;
	pkt->timestamp = k_uptime_get_32();

	/* Phase 5: Get real TMC9660 temperatures */
	pkt->tmc9660_temp_avg = 25.0f;  /* Placeholder */

	/* STM32 internal temperature (could implement in Phase 3) */
	pkt->stm32_temp = 30.0f;  /* Placeholder */

	pkt->error_count = error_count;
	pkt->last_error_code = last_error;

	/* CPU usage - Zephyr can provide this */
	pkt->cpu_usage = 10;  /* Placeholder */

	/* Calculate CRC */
	pkt->crc16 = crc16_ccitt(0xFFFF, (uint8_t *)pkt, sizeof(*pkt) - 2);
}

uint8_t packet_get_status_flags(void)
{
	uint8_t flags = 0;

	if (emergency_stop_active) {
		flags |= STATUS_E_STOP_ACTIVE;
	}

	if (current_mode == MODE_HOMING) {
		flags |= STATUS_HOMING_IN_PROGRESS;
	}

	if (current_mode == MODE_OPERATION) {
		flags |= STATUS_TRAJECTORY_EXECUTING;
	}

	/* Phase 9: Add calibration valid flag */
	/* Phase 6: Add buffer empty flag */
	/* Phase 7: Add position/force limit flags */

	if (last_error != ERROR_NO_ERROR) {
		flags |= STATUS_ERROR_PRESENT;
	}

	return flags;
}
```

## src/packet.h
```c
/*
 * Packet Protocol Definitions - Phase 3
 * Based on packet-protocol-specification.yaml
 *
 * SPDX-License-Identifier: Apache-2.0
 */

#ifndef PACKET_H
#define PACKET_H

#include <stdint.h>
#include <stdbool.h>
#include <stddef.h>

/* Magic headers */
#define PACKET_MAGIC_MASTER_TO_STM32  0xAA55
#define PACKET_MAGIC_STM32_TO_MASTER  0xBB55

/* Command packet types (Master → STM32) */
#define CMD_TRAJECTORY        0x01
#define CMD_EMERGENCY_STOP    0x02
#define CMD_START_HOMING      0x03
#define CMD_JOG_MOTOR         0x07
#define CMD_SET_MODE          0x08
#define CMD_SET_ZERO_OFFSET   0x09

/* Feedback packet types (STM32 → Master) */
#define FEEDBACK_MOTOR_STATE     0x01
#define FEEDBACK_CAPACITIVE_GRID 0x02
#define FEEDBACK_DIAGNOSTICS     0x03

/* Operating modes */
#define MODE_IDLE       0x01
#define MODE_HOMING     0x02
#define MODE_OPERATION  0x03

/* Status flags (bit field in motor_state packet) */
#define STATUS_E_STOP_ACTIVE          (1 << 0)
#define STATUS_HOMING_IN_PROGRESS     (1 << 1)
#define STATUS_POSITION_LIMIT_HIT     (1 << 2)
#define STATUS_FORCE_LIMIT_EXCEEDED   (1 << 3)
#define STATUS_BUFFER_EMPTY           (1 << 4)
#define STATUS_TRAJECTORY_EXECUTING   (1 << 5)
#define STATUS_CALIBRATION_VALID      (1 << 6)
#define STATUS_ERROR_PRESENT          (1 << 7)

/* Error codes */
#define ERROR_NO_ERROR              0x00
#define ERROR_E_STOP_TRIGGERED      0x01
#define ERROR_MOTOR_OVERCURRENT     0x02
#define ERROR_POSITION_LIMIT        0x03
#define ERROR_COMMUNICATION_TIMEOUT 0x04
#define ERROR_CRC_ERROR             0x05
#define ERROR_INVALID_TRAJECTORY    0x06
#define ERROR_ENCODER_FAULT         0x07
#define ERROR_TMC9660_FAULT         0x08
#define ERROR_IMU_FAULT             0x09
#define ERROR_CAPACITIVE_FAULT      0x0A
#define ERROR_FLASH_ERROR           0x0B
#define ERROR_BUFFER_OVERRUN        0x0C
#define ERROR_TEMPERATURE_HIGH      0x0D

/* ========================================
 * COMMAND PACKETS (Master → STM32)
 * ======================================== */

/**
 * Trajectory Command (0x01) - 112 bytes
 * TCP, 5 Hz
 */
typedef struct __attribute__((packed)) {
	uint16_t magic_header;           /* 0xAA55 */
	uint8_t  packet_type;            /* 0x01 */
	uint8_t  segment_id;             /* 1-8 */
	uint32_t trajectory_id;          /* Unique ID */
	uint32_t start_timestamp;        /* ms since boot */
	uint16_t duration_ms;            /* Trajectory duration */
	float    motor_1_coeffs[8];      /* Septic polynomial a0-a7 */
	float    motor_2_coeffs[8];
	float    motor_3_coeffs[8];
	uint16_t crc16;
} trajectory_packet_t;

/**
 * Emergency Stop (0x02) - 7 bytes
 * UDP, emergency only
 */
typedef struct __attribute__((packed)) {
	uint16_t magic_header;           /* 0xAA55 */
	uint8_t  packet_type;            /* 0x02 */
	uint8_t  segment_id;             /* Target segment (0xFF = broadcast) */
	uint8_t  stop_reason;            /* Why stopping */
	uint16_t crc16;
} emergency_stop_packet_t;

/**
 * Start Homing (0x03) - 7 bytes
 * TCP, once per startup
 */
typedef struct __attribute__((packed)) {
	uint16_t magic_header;           /* 0xAA55 */
	uint8_t  packet_type;            /* 0x03 */
	uint8_t  segment_id;
	uint8_t  homing_mode;            /* 0x01=full, 0x02=quick verify */
	uint16_t crc16;
} start_homing_packet_t;

/**
 * Jog Motor (0x07) - 13 bytes
 * TCP, manual calibration
 */
typedef struct __attribute__((packed)) {
	uint16_t magic_header;           /* 0xAA55 */
	uint8_t  packet_type;            /* 0x07 */
	uint8_t  segment_id;
	uint8_t  motor_id;               /* 1, 2, or 3 */
	uint8_t  mode;                   /* 0x01=mm, 0x02=encoder ticks */
	float    value;                  /* Distance to move */
	uint8_t  speed_percent;          /* 0-100% */
	uint16_t crc16;
} jog_motor_packet_t;

/**
 * Set Mode (0x08) - 7 bytes
 * TCP
 */
typedef struct __attribute__((packed)) {
	uint16_t magic_header;           /* 0xAA55 */
	uint8_t  packet_type;            /* 0x08 */
	uint8_t  segment_id;
	uint8_t  mode;                   /* 0x01=IDLE, 0x02=HOMING, 0x03=OPERATION */
	uint16_t crc16;
} set_mode_packet_t;

/**
 * Set Zero Offset (0x09) - 6 bytes
 * TCP, calibration
 */
typedef struct __attribute__((packed)) {
	uint16_t magic_header;           /* 0xAA55 */
	uint8_t  packet_type;            /* 0x09 */
	uint8_t  segment_id;
	uint16_t crc16;
} set_zero_offset_packet_t;

/* ========================================
 * FEEDBACK PACKETS (STM32 → Master)
 * ======================================== */

/**
 * Motor State (0x01) - 83 bytes
 * UDP, 100 Hz
 */
typedef struct __attribute__((packed)) {
	uint16_t magic_header;           /* 0xBB55 */
	uint8_t  packet_type;            /* 0x01 */
	uint8_t  segment_id;
	uint32_t timestamp;              /* ms since boot */

	/* Motor 1 */
	float    motor_1_position;       /* mm */
	float    motor_1_velocity;       /* mm/s */
	float    motor_1_acceleration;   /* mm/s² */
	float    motor_1_jerk;           /* mm/s³ */
	float    motor_1_current;        /* Amps */

	/* Motor 2 */
	float    motor_2_position;
	float    motor_2_velocity;
	float    motor_2_acceleration;
	float    motor_2_jerk;
	float    motor_2_current;

	/* Motor 3 */
	float    motor_3_position;
	float    motor_3_velocity;
	float    motor_3_acceleration;
	float    motor_3_jerk;
	float    motor_3_current;

	/* IMU */
	float    imu_roll;               /* radians */
	float    imu_pitch;              /* radians */
	float    imu_yaw;                /* radians */

	uint8_t  status_flags;           /* Status bits */
	uint16_t crc16;
} motor_state_packet_t;

/**
 * Diagnostics (0x03) - 26 bytes
 * TCP, 1 Hz
 */
typedef struct __attribute__((packed)) {
	uint16_t magic_header;           /* 0xBB55 */
	uint8_t  packet_type;            /* 0x03 */
	uint8_t  segment_id;
	uint32_t timestamp;              /* ms since boot */
	float    tmc9660_temp_avg;       /* °C */
	float    stm32_temp;             /* °C */
	uint16_t error_count;
	uint8_t  last_error_code;
	uint8_t  cpu_usage;              /* 0-100% */
	uint16_t crc16;
} diagnostics_packet_t;

/* ========================================
 * PACKET HANDLING FUNCTIONS
 * ======================================== */

/**
 * Set this segment's ID
 *
 * @param id Segment ID (0-8, 0=unconfigured)
 */
void packet_set_segment_id(uint8_t id);

/**
 * Parse and validate received command packet
 *
 * @param data Pointer to received packet data
 * @param length Length of received data
 * @return Packet type on success, -1 on error
 */
int packet_parse_command(const uint8_t *data, size_t length);

/**
 * Build motor state feedback packet
 *
 * @param pkt Pointer to packet structure to fill
 * @param segment_id This segment's ID
 */
void packet_build_motor_state(motor_state_packet_t *pkt, uint8_t segment_id);

/**
 * Build diagnostics feedback packet
 *
 * @param pkt Pointer to packet structure to fill
 * @param segment_id This segment's ID
 */
void packet_build_diagnostics(diagnostics_packet_t *pkt, uint8_t segment_id);

/**
 * Handle EMERGENCY_STOP command
 *
 * @param pkt Pointer to parsed packet
 */
void packet_handle_emergency_stop(const emergency_stop_packet_t *pkt);

/**
 * Handle SET_MODE command
 *
 * @param pkt Pointer to parsed packet
 */
void packet_handle_set_mode(const set_mode_packet_t *pkt);

/**
 * Handle TRAJECTORY command
 *
 * @param pkt Pointer to parsed packet
 */
void packet_handle_trajectory(const trajectory_packet_t *pkt);

/**
 * Get current system status flags
 *
 * @return Status flags byte
 */
uint8_t packet_get_status_flags(void);

#endif /* PACKET_H */
```
